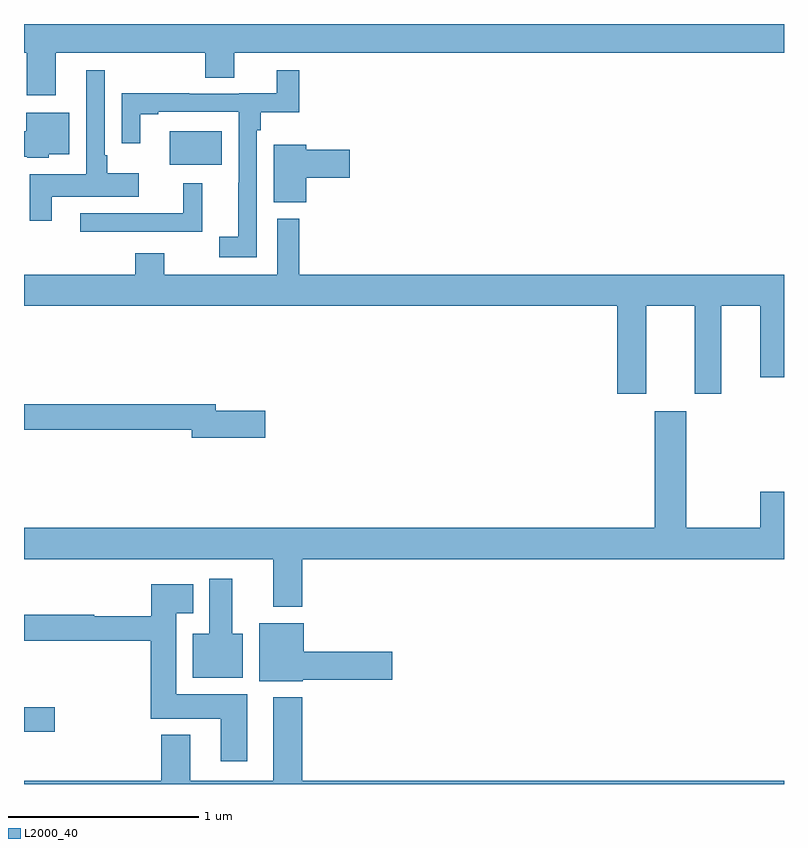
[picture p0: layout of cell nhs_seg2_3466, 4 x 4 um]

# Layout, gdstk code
import gdstk
lib = gdstk.Library(unit=1e-6, precision=1e-09)
def R(c, l, rs):  # rectangles x0, y0, x1, y1
    for r in rs: c.add(gdstk.rectangle(r[:2], r[2:], *l))
def P(c, l, *ps):  # polygons
    for p in ps: c.add(gdstk.Polygon(p, *l))
L2000_40 = (2000, 40)

nhs_seg2_3466 = lib.new_cell('nhs_seg2_3466')
R(nhs_seg2_3466, L2000_40, [(293,632.075,293.161,632.205), (293.768,635.06,294.04,635.236)])
P(nhs_seg2_3466, L2000_40, [(293.167,635.648),(293.954,635.648),(293.954,635.518),(294.106,635.518),(294.106,635.648),(297,635.648),(297,635.8),(293,635.8),(293,635.648),(293.015,635.648),(293.015,635.424),(293.167,635.424)],
  [(293.146,634.892),(293.605,634.892),(293.605,635.014),(293.437,635.014),(293.437,635.11),(293.424,635.11),(293.424,635.557),(293.328,635.557),(293.328,635.008),(293.029,635.008),(293.029,634.764),(293.146,634.764)],
  [(294.225,635.24),(294.245,635.24),(294.245,635.336),(294.449,635.336),(294.449,635.557),(294.331,635.557),(294.331,635.435),(294.132,635.435),(294.132,635.433),(293.87,635.433),(293.87,635.435),(293.514,635.435),(293.514,635.172),(293.611,635.172),(293.611,635.325),(293.707,635.325),(293.707,635.337),(294.129,635.337),(294.129,634.964),(294.128,634.964),(294.128,634.681),(294.027,634.681),(294.027,634.572),(294.225,634.572)],
  [(293.13,635.114),(293.239,635.114),(293.239,635.332),(293.012,635.332),(293.012,635.236),(293,635.236),(293,635.102),(293.016,635.102),(293.016,635.096),(293.13,635.096)],
  [(294.485,634.991),(294.715,634.991),(294.715,635.138),(294.485,635.138),(294.485,635.164),(294.314,635.164),(294.314,634.861),(294.485,634.861)],
  [(293.939,634.963),(293.839,634.963),(293.839,634.803),(293.295,634.803),(293.295,634.707),(293.939,634.707)],
  [(296.123,633.855),(296.275,633.855),(296.275,634.316),(296.531,634.316),(296.531,633.855),(296.671,633.855),(296.671,634.316),(296.876,634.316),(296.876,633.942),(297,633.942),(297,634.48),(294.449,634.48),(294.449,634.776),(294.333,634.776),(294.333,634.48),(293.737,634.48),(293.737,634.594),(293.585,634.594),(293.585,634.48),(293,634.48),(293,634.316),(296.123,634.316)],
  [(294.271,633.764),(294.01,633.764),(294.01,633.8),(293,633.8),(293,633.664),(293.882,633.664),(293.882,633.622),(294.271,633.622)],
  [(294.464,632.984),(297,632.984),(297,633.337),(296.876,633.337),(296.876,633.148),(296.485,633.148),(296.485,633.763),(296.321,633.763),(296.321,633.148),(293,633.148),(293,632.984),(294.311,632.984),(294.311,632.732),(294.464,632.732)],
  [(294.151,632.59),(294.097,632.59),(294.097,632.881),(293.975,632.881),(293.975,632.59),(293.888,632.59),(293.888,632.36),(294.151,632.36)],
  [(294.175,632.272),(293.8,632.272),(293.8,632.699),(293.89,632.699),(293.89,632.851),(293.671,632.851),(293.671,632.683),(293.37,632.683),(293.37,632.691),(293,632.691),(293,632.554),(293.666,632.554),(293.666,632.144),(294.035,632.144),(294.035,631.92),(294.175,631.92)],
  [(294.468,632.348),(294.937,632.348),(294.937,632.495),(294.472,632.495),(294.472,632.647),(294.239,632.647),(294.239,632.342),(294.468,632.342)],
  [(297,631.816),(294.464,631.816),(294.464,632.257),(294.311,632.257),(294.311,631.816),(293.875,631.816),(293.875,632.059),(293.723,632.059),(293.723,631.816),(293,631.816),(293,631.8),(297,631.8)])

lib.write_gds('nhs_seg2_3466.gds')
